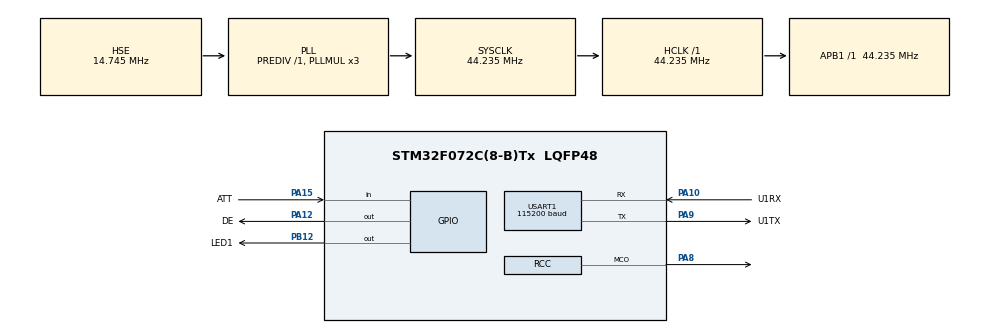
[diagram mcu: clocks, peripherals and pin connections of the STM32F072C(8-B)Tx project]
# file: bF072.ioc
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CRC.DefaultInitValueUse=DEFAULT_INIT_VALUE_DISABLE
CRC.InitValue=0xffffffff
CRC.InputDataInversionMode=CRC_INPUTDATA_INVERSION_BYTE
CRC.OutputDataInversionMode=CRC_OUTPUTDATA_INVERSION_ENABLE
Mcu.Family=STM32F0
Mcu.Name=STM32F072C(8-B)Tx
Mcu.Package=LQFP48
PA10.GPIO_Label=U1RX
PA10.GPIO_PuPd=GPIO_PULLUP
PA10.Mode=Asynchronous
PA10.Signal=USART1_RX
PA12.GPIO_Label=DE
PA12.Signal=GPIO_Output
PA13.Mode=Serial_Wire
PA13.Signal=SYS_SWDIO
PA14.Mode=Serial_Wire
PA14.Signal=SYS_SWCLK
PA15.GPIO_Label=ATT
PA15.GPIO_PuPd=GPIO_PULLDOWN
PA15.Signal=GPIO_Input
PA8.Mode=Clock-out
PA8.Signal=RCC_MCO
PA9.GPIO_Label=U1TX
PA9.Mode=Asynchronous
PA9.Signal=USART1_TX
PB12.GPIO_Label=LED1
PB12.Signal=GPIO_Output
PB8.GPIO_Speed=GPIO_SPEED_FREQ_LOW
PB8.Signal=CAN_RX
PB9.GPIO_Speed=GPIO_SPEED_FREQ_LOW
PB9.Signal=CAN_TX
PF0-OSC_IN.Mode=HSE-External-Clock-Source
PF0-OSC_IN.Signal=RCC_OSC_IN
ProjectManager.HeapSize=0x200
ProjectManager.StackSize=0x400
ProjectManager.TargetToolchain=STM32CubeIDE
RCC.AHBFreq_Value=44235000
RCC.APB1Freq_Value=44235000
RCC.APB1TimFreq_Value=44235000
RCC.HCLKFreq_Value=44235000
RCC.HSE_VALUE=14745000
RCC.MSICalibrationValue=0
RCC.PLLMUL=RCC_PLL_MUL3
RCC.PLLSourceVirtual=RCC_PLLSOURCE_HSE
RCC.PWR_Regulator_Voltage_Scale=PWR_REGULATOR_VOLTAGE_SCALE1
RCC.RCC_MCODiv=RCC_MCODIV_32
RCC.SYSCLKFreq_VALUE=44235000
RCC.SYSCLKSource=RCC_SYSCLKSOURCE_PLLCLK
USART1.AutoBaudRateEnableParam=UART_ADVFEATURE_AUTOBAUDRATE_DISABLE
USART1.BaudRate=115200
USART1.DMADisableonRxErrorParam=ADVFEATURE_DMA_DISABLEONRXERROR
USART1.DataInvertParam=ADVFEATURE_DATAINV_DISABLE
USART1.MSBFirstParam=ADVFEATURE_MSBFIRST_DISABLE
USART1.Mode=MODE_TX_RX
USART1.OneBitSampling=UART_ONE_BIT_SAMPLE_DISABLE
USART1.OverSampling=UART_OVERSAMPLING_16
USART1.OverrunDisableParam=ADVFEATURE_OVERRUN_DISABLE
USART1.Parity=PARITY_NONE
USART1.RxPinLevelInvertParam=ADVFEATURE_RXINV_DISABLE
USART1.StopBits=STOPBITS_1
USART1.SwapParam=ADVFEATURE_SWAP_DISABLE
USART1.TxPinLevelInvertParam=ADVFEATURE_TXINV_DISABLE
USART1.VirtualMode-Asynchronous=VM_ASYNC
USART1.WordLength=WORDLENGTH_8B
VP_CRC_VS_CRC.Mode=CRC_Activate
board=custom

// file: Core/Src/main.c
/* USER CODE BEGIN Header */
/**
  ******************************************************************************
  * @file           : main.c
  * @brief          : Main program body
  ******************************************************************************
  * @attention
  *
  * Copyright (c) 2025 STMicroelectronics.
  * All rights reserved.
  *
  * This software is licensed under terms that can be found in the LICENSE file
  * in the root directory of this software component.
  * If no LICENSE file comes with this software, it is provided AS-IS.
  *
  ******************************************************************************
  */
#include <stdint.h>
#include <stdbool.h>
#include "Flash.h"
/* USER CODE END Header */
#include "main.h"
#include "crc.h"
#include "usart.h"
#include "gpio.h"

/* USER CODE BEGIN PV */
	char rbuff[15];
	bool correctCrc = false;

/* USER CODE END PV */

void SystemClock_Config(void);

int main(void)
{

  /* USER CODE BEGIN 1 */
	  uint32_t attPin;

  /* USER CODE END 1 */

  /* MCU Configuration--------------------------------------------------------*/

  /* Reset of all peripherals, Initializes the Flash interface and the Systick. */
  HAL_Init();

  /* Configure the system clock */
  SystemClock_Config();

  /* Initialize all configured peripherals */
  MX_GPIO_Init();
  MX_USART1_UART_Init();
  MX_CRC_Init();
  /* USER CODE BEGIN 2 */
	  attPin= GPIOA->IDR & 0x8000;
	  if (! attPin)
		  start_application(AppAddr);

  /* USER CODE END 2 */

  /* Infinite loop */
  /* USER CODE BEGIN WHILE */
  while (1)
  {
	  int r;
	  /*
	  uint32_t count= 0;
	  LED1_GPIO_Port->BSRR= LED1_Pin;
	  count= utilDelay(50);
	  while(utilDelay(0) != 0);
	  LED1_GPIO_Port->BRR= LED1_Pin;
	  count= utilDelay(500);
	  while(utilDelay(0) != 0);
	  //HAL_Delay(50);
	   */
		r = flashReadOneLine();
		r = flashDecodeLine();
		if (r == FLASH_FIN) {
			flashUpdateBootsector();
			r = crcCalcCrc(&correctCrc);
		} else {
			r = flashWriteData();
		}
		uintToHex((uint32_t) r, rbuff, 0x0a);
		uartSendResponse(rbuff);

    /* USER CODE END WHILE */

  }
}

void SystemClock_Config(void)
{
  RCC_OscInitTypeDef RCC_OscInitStruct = {0};
  RCC_ClkInitTypeDef RCC_ClkInitStruct = {0};
  RCC_PeriphCLKInitTypeDef PeriphClkInit = {0};

  /** Initializes the RCC Oscillators according to the specified parameters
  * in the RCC_OscInitTypeDef structure.
  */
  RCC_OscInitStruct.OscillatorType = RCC_OSCILLATORTYPE_HSE;
  RCC_OscInitStruct.HSEState = RCC_HSE_BYPASS;
  RCC_OscInitStruct.PLL.PLLState = RCC_PLL_ON;
  RCC_OscInitStruct.PLL.PLLSource = RCC_PLLSOURCE_HSE;
  RCC_OscInitStruct.PLL.PLLMUL = RCC_PLL_MUL3;
  RCC_OscInitStruct.PLL.PREDIV = RCC_PREDIV_DIV1;
  if (HAL_RCC_OscConfig(&RCC_OscInitStruct) != HAL_OK)
  {
    Error_Handler();
  }

  /** Initializes the CPU, AHB and APB buses clocks
  */
  RCC_ClkInitStruct.ClockType = RCC_CLOCKTYPE_HCLK|RCC_CLOCKTYPE_SYSCLK
                              |RCC_CLOCKTYPE_PCLK1;
  RCC_ClkInitStruct.SYSCLKSource = RCC_SYSCLKSOURCE_PLLCLK;
  RCC_ClkInitStruct.AHBCLKDivider = RCC_SYSCLK_DIV1;
  RCC_ClkInitStruct.APB1CLKDivider = RCC_HCLK_DIV1;

  if (HAL_RCC_ClockConfig(&RCC_ClkInitStruct, FLASH_LATENCY_1) != HAL_OK)
  {
    Error_Handler();
  }
  PeriphClkInit.PeriphClockSelection = RCC_PERIPHCLK_USART1;
  PeriphClkInit.Usart1ClockSelection = RCC_USART1CLKSOURCE_PCLK1;
  if (HAL_RCCEx_PeriphCLKConfig(&PeriphClkInit) != HAL_OK)
  {
    Error_Handler();
  }
  HAL_RCC_MCOConfig(RCC_MCO, RCC_MCO1SOURCE_SYSCLK, RCC_MCODIV_32);
}

void Error_Handler(void)
{
  __disable_irq();
  while (1)
  {
  }
}
